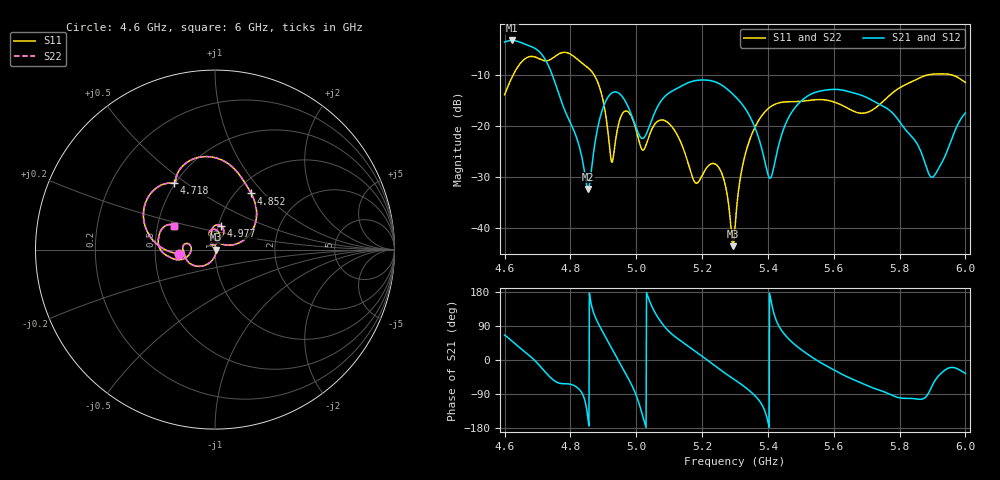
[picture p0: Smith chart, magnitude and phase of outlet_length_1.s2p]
! TOUCHSTONE file generated by CST MICROWAVE STUDIO
! Date and time: Mon Dec  2 04:50:22 2024
! Project name: test_tuning.cst
! Parameters = {airCoaxOuterDiameter=3; chamferAngle=45; chamferWidth=24; connectorLength=10; drillingHoleDiameter=4.1; feedLength=60; flareDiameter=130; flareLength=70; gratingDistance=0; gratingGap=1.90274; outletLength=5; polarizerLength=134; probe1Diameter=1.3; probe1Distance=14; probe1Length=12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
! Header version: 2024
! Port assignment regex: !\s*Touchstone port\s*([0-9]+)\s*=\s*(CST MWS port|CST DES external port|CST DES block port)\s*(.+)\s* \(\"(.*)\"\)(\s*mode\s*([0-9]+))?.*
! Touchstone port assignment:
! Touchstone port 1 = CST MWS port 1 ("Input1")
! Touchstone port 2 = CST MWS port 2 ("Input2")
# GHz S MA R 50
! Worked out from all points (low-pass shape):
!   1001 points, 4.6 GHz to 6 GHz, reference 50 ohm
!   highest |S21| = -3.32 dB at 4.622 GHz (marker M1); lowest = -32.4 dB at 4.853 GHz (marker M2)
!   |S21| within 3 dB of the highest: start of sweep to 4.716 GHz
!   lowest |S11| = -43.6 dB at 5.294 GHz (marker M3), VSWR 1.01, Z = 50.7 - j0.0055 ohm
!   |S11| at or under -10 dB: start of sweep to 4.626 GHz; 4.871 GHz to 5.891 GHz (1.019 GHz wide, 18.9 % of centre); 5.955 GHz to end of sweep
!   |S22| runs from -43.6 to -5.6 dB; largest |S21 - S12| = 1.6e-06
!   S11 on the Smith chart (normalised r, x): 4.6 GHz: 0.67, -0.03; 4.718 GHz: 0.49, +0.45; 4.852 GHz: 1.17, +0.85; 4.977 GHz: 1.04, +0.28; 6 GHz: 0.61, +0.18
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4.6  0.2008 -173.4  0.657 65.8  0.657 65.8  0.2008 -173.4
4.6224  0.2978 178.0  0.6825 50.0  0.6825 50.0  0.2978 178.0
4.7176  0.4346 121.8  0.4759 -25.8  0.4759 -25.8  0.4346 121.8
4.8338  0.4135 67.1  0.05077 -85.4  0.05077 -85.4  0.4135 67.1
4.852  0.3723 57.2  0.02444 -145.6  0.02444 -145.6  0.3723 57.2
4.8534  0.369 56.3  0.02406 -155.0  0.02406 -155.0  0.369 56.3
4.8926  0.2151 24.2  0.1289 82.9  0.1289 82.9  0.2151 24.2
4.9262  0.04382 60.7  0.2094 29.5  0.2094 29.5  0.04382 60.7
4.9766  0.1356 74.7  0.1496 -49.8  0.1496 -49.8  0.1356 74.7
5.02  0.05767 87.0  0.07519 -149.3  0.07519 -149.3  0.05767 87.0
5.0676  0.1119 101.0  0.1596 109.9  0.1596 109.9  0.1119 101.0
5.1796  0.02766 96.0  0.2763 22.6  0.2763 22.6  0.02766 96.0
5.251  0.03891 110.9  0.259 -22.9  0.259 -22.9  0.03891 110.9
5.2944  0.006639 -0.5  0.2023 -49.4  0.2023 -49.4  0.006639 -0.5
5.3  0.01017 -48.9  0.1943 -52.6  0.1943 -52.6  0.01017 -48.9
5.3364  0.06046 -104.0  0.1384 -75.6  0.1384 -75.6  0.06046 -104.0
5.4064  0.152 -145.9  0.03065 169.9  0.03065 169.9  0.152 -145.9
5.461  0.1716 -167.9  0.117 57.4  0.117 57.4  0.1716 -167.9
5.5338  0.1787 -179.8  0.206 7.4  0.206 7.4  0.1787 -179.8
5.7676  0.1954 -163.5  0.1432 -89.4  0.1432 -89.4  0.1954 -163.5
5.8978  0.3187 172.8  0.03133 -70.2  0.03133 -70.2  0.3187 172.8
6  0.2654 149.7  0.1334 -35.4  0.1334 -35.4  0.2654 149.7
